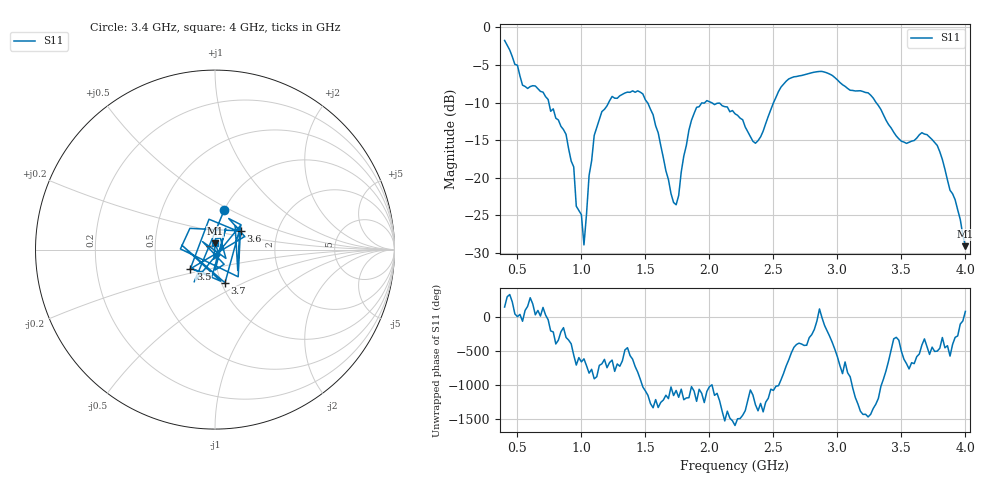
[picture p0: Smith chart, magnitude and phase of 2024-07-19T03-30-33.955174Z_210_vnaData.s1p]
!Created with skrf (http://scikit-rf.org).
# Hz S RI R 50.0
!freq ReS11 ImS11
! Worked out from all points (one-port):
!   181 points, 400 MHz to 4 GHz, reference 50 ohm
!   lowest |S11| = -29.1 dB at 4 GHz (marker M1), VSWR 1.07, Z = 49.9 + j3.49 ohm
!   |S11| at or under -10 dB: 745.2 MHz to 1.213 GHz (468 MHz wide, 47.8 % of centre); 2.015 GHz to 2.501 GHz (486.7 MHz wide, 21.6 % of centre); 3.302 GHz to end of sweep (the widest 3 of 4)
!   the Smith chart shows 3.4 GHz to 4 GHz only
!   S11 on the Smith chart (normalised r, x): 3.4 GHz: 1.00, +0.46; 3.5 GHz: 0.74, -0.16; 3.6 GHz: 1.30, +0.28; 3.7 GHz: 1.04, -0.40; 4 GHz: 1.00, +0.07
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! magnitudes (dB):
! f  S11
! 400 MHz  -1.7
! 540 MHz  -7.7
! 700 MHz  -8.6
! 860 MHz  -13.6
! 940 MHz  -18.6
! 960 MHz  -23.8
! 1 GHz  -24.9
! 1.02 GHz  -29.0
! 1.06 GHz  -19.7
! 1.1 GHz  -14.4
! 1.3 GHz  -9.1
! 1.48 GHz  -8.9
! 1.56 GHz  -11.6
! 1.72 GHz  -23.3
! 1.76 GHz  -22.4
! 1.84 GHz  -13.7
! 1.9 GHz  -10.6
! 2.2 GHz  -11.5
! 2.36 GHz  -15.4
! 2.66 GHz  -6.6
! 3.1 GHz  -8.4
! 3.4 GHz  -12.9
! 3.5 GHz  -15.2
! 3.56 GHz  -15.3
! 3.6 GHz  -15.1
! 3.7 GHz  -14.3
! 3.8 GHz  -16.6
! 4 GHz  -29.1
